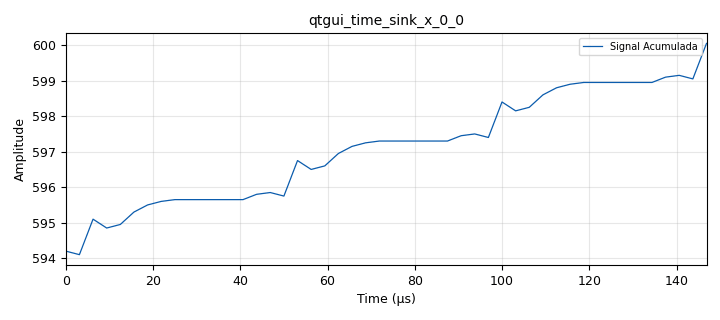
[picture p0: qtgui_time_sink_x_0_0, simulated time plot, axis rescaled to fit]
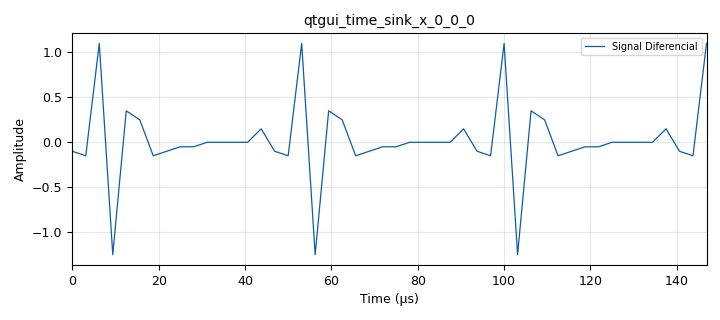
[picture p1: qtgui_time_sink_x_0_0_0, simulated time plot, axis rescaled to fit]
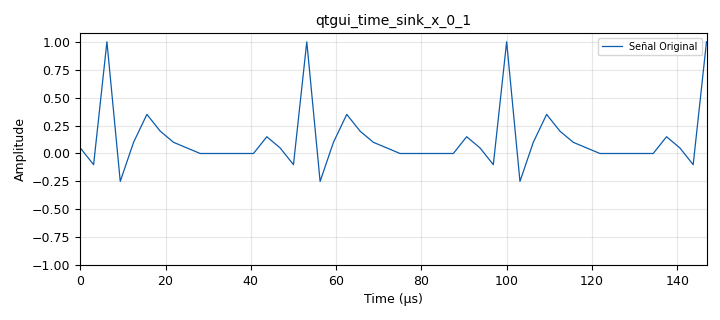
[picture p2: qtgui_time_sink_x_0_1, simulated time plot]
options:
  parameters:
    author: Dana y Carlos
    generate_options: qt_gui
    id: untitled
    output_language: python
    title: Practica_1
  states: {}

blocks:
- name: samp_rate
  id: variable
  parameters:
    value: '320000'
  states: {}
- name: analog_noise_source_x_0
  id: analog_noise_source_x
  parameters:
    amp: '.000000001'
    noise_type: analog.GR_GAUSSIAN
    seed: '0'
    type: float
  states: {}
- name: blocks_add_xx_0
  id: blocks_add_xx
  parameters:
    type: float
  states: {}
- name: blocks_vector_source_x_0
  id: blocks_vector_source_x
  parameters:
    comment: |-
      .
      (5,0,0,0,0,0,-5,0,0,0,0)


      ecg (0.0, 0.07, 0.15, 0.25, 0.32, -0.9, 0.15, 0.1, 0.05, 0.02, 0.0, 0.06, 0.12, 0.2, -1.0, 0.3, 0.15, 0.08, 0.02, 0.0)




      vector que si se puede derivar miu=0 inicio en 1  (1,1,-1,-1,-1,-1,1,1)
    repeat: 'True'
    type: float
    vector: (0.00, 0.15, 0.05, -0.10, 1.00, -0.25, 0.10, 0.35, 0.20, 0.10, 0.05, 0.00, 0.00, 0.00, 0.00)
  states: {}
- name: epy_block_0
  id: epy_block
  parameters:
    _source_code: |
      import numpy as np
      from gnuradio import gr

      class blk (gr.sync_block ):
          def __init__( self ) : # only default arguments here
              gr.sync_block.__init__(
                  self ,
                  name ="e_Acum ", # will show up in GRC
                  in_sig =[np.float32],
                  out_sig =[np.float32]
              )

          def work (self,input_items,output_items):
              x = input_items [0] # Senial de entrada .
              y0 = output_items [0] # Senial acumulada
              y0 [:] = np.cumsum(x)
          
              return len (y0)
    alias: Acumulador
  states: {}
- name: epy_block_0_0
  id: epy_block
  parameters:
    _source_code: |
      import numpy as np
      from gnuradio import gr

      class blk(gr.sync_block):  
          def __init__(self, ts=1):  # Agregar 'ts' como parámetro de entrada con valor por defecto 1
              gr.sync_block.__init__(
                  self,
                  name='e_Dif',   
                  in_sig=[np.float32],
                  out_sig=[np.float32]
              )
              self.ts = ts  # Guardamos el valor de ts en un atributo de la clase
              self.acum_anterior = 0
              
          def work(self, input_items, output_items):
              x = input_items[0]  # Señal de entrada
              y = output_items[0]  # Señal de salida
              N = len(x)
          
              # Diferenciación acumulada con 'ts' como factor de escala
              for i in range(N):
                  y[i] = (x[i] - self.acum_anterior) / self.ts  # Restamos el valor acumulado anterior y dividimos por 'ts'
                  self.acum_anterior = x[i]  # Actualizamos el acumulado con el valor actual
              
              return len(y)
    alias: Diferenciador
    ts: '1'
  states: {}
- name: epy_block_1
  id: epy_block
  parameters:
    _source_code: |
      import numpy as np
      from gnuradio import gr

      class blk(gr.sync_block):
          def __init__(self, example_param=1.0): 
              gr.sync_block.__init__(
                  self,
                  name='Estadistico',
                  in_sig=[np.float32],
                  out_sig=[np.float32, np.float32, np.float32, np.float32, np.float32]
              )
              self.acum_anterior = 0
              self.Ntotales = 0
              self.acum_anterior1 = 0
              self.acum_anterior2 = 0

          def work(self, input_items, output_items):
              x = input_items[0]    # Señal de entrada
              y0 = output_items[0]  # Promedio de la señal de entrada
              y1 = output_items[1]  # Media cuadrática de la señal
              y2 = output_items[2]  # RMS de la señal
              y3 = output_items[3]  # Potencia promedio de la señal
              y4 = output_items[4]  # Desviación estándar de la señal
              
              # Promedio
              N = len(x)
              self.Ntotales = self.Ntotales + N
              acumulado = self.acum_anterior + np.cumsum(x)
              self.acum_anterior = acumulado[N-1] 
              y0[:] = acumulado / self.Ntotales
              
              # Media cuadrática
              x2 = np.multiply(x, x)
              acumulado1 = self.acum_anterior1 + np.cumsum(x2)
              self.acum_anterior1 = acumulado1[N - 1]
              y1[:] = acumulado1 / self.Ntotales
              
              # RMS
              y2[:] = np.sqrt(y1)  # Usamos np.sqrt() en lugar de sqrt() solo
              
              # Potencia promedio
              y3[:] = np.multiply(y2, y2)
              
              # Desviación estándar
              x3 = np.multiply(x - y0, x - y0)
              acumulado2 = self.acum_anterior2 + np.cumsum(x3)
              self.acum_anterior2 = acumulado2[N - 1]
              y4[:] = np.sqrt(acumulado2 / self.Ntotales)
              
              return len(x)
    alias: Estadistico
    example_param: '1.0'
  states: {}
- name: qtgui_number_sink_0
  id: qtgui_number_sink
  parameters:
    graph_type: qtgui.NUM_GRAPH_HORIZ
    name: '"Desviacion Estandar"'
    type: float
  states: {}
- name: qtgui_number_sink_0_0
  id: qtgui_number_sink
  parameters:
    graph_type: qtgui.NUM_GRAPH_HORIZ
    name: '"Potencia Promedio"'
    type: float
  states: {}
- name: qtgui_number_sink_0_1
  id: qtgui_number_sink
  parameters:
    graph_type: qtgui.NUM_GRAPH_HORIZ
    name: '"RMS"'
    type: float
  states: {}
- name: qtgui_number_sink_0_2
  id: qtgui_number_sink
  parameters:
    graph_type: qtgui.NUM_GRAPH_HORIZ
    name: '"Media Cuadratica"'
    type: float
  states: {}
- name: qtgui_number_sink_0_3
  id: qtgui_number_sink
  parameters:
    graph_type: qtgui.NUM_GRAPH_HORIZ
    name: Media
    type: float
  states: {}
- name: qtgui_time_sink_x_0_0
  id: qtgui_time_sink_x
  parameters:
    label1: Signal Acumulada
    size: '48'
    srate: samp_rate
    type: float
  states: {}
- name: qtgui_time_sink_x_0_0_0
  id: qtgui_time_sink_x
  parameters:
    label1: Signal Diferencial
    size: '48'
    srate: samp_rate
    type: float
  states: {}
- name: qtgui_time_sink_x_0_1
  id: qtgui_time_sink_x
  parameters:
    alias: Señal Original
    label1: Señal Original
    size: '48'
    srate: samp_rate
    type: float
  states: {}

connections:
- [analog_noise_source_x_0, '0', blocks_add_xx_0, '0']
- [blocks_add_xx_0, '0', epy_block_0, '0']
- [blocks_add_xx_0, '0', epy_block_0_0, '0']
- [blocks_add_xx_0, '0', epy_block_1, '0']
- [blocks_add_xx_0, '0', qtgui_time_sink_x_0_1, '0']
- [blocks_vector_source_x_0, '0', blocks_add_xx_0, '1']
- [epy_block_0, '0', qtgui_time_sink_x_0_0, '0']
- [epy_block_0_0, '0', qtgui_time_sink_x_0_0_0, '0']
- [epy_block_1, '0', qtgui_number_sink_0_3, '0']
- [epy_block_1, '1', qtgui_number_sink_0_2, '0']
- [epy_block_1, '2', qtgui_number_sink_0_1, '0']
- [epy_block_1, '3', qtgui_number_sink_0_0, '0']
- [epy_block_1, '4', qtgui_number_sink_0, '0']

metadata:
  file_format: 1
  grc_version: v3.10.11.0-89-ga17f69e7
